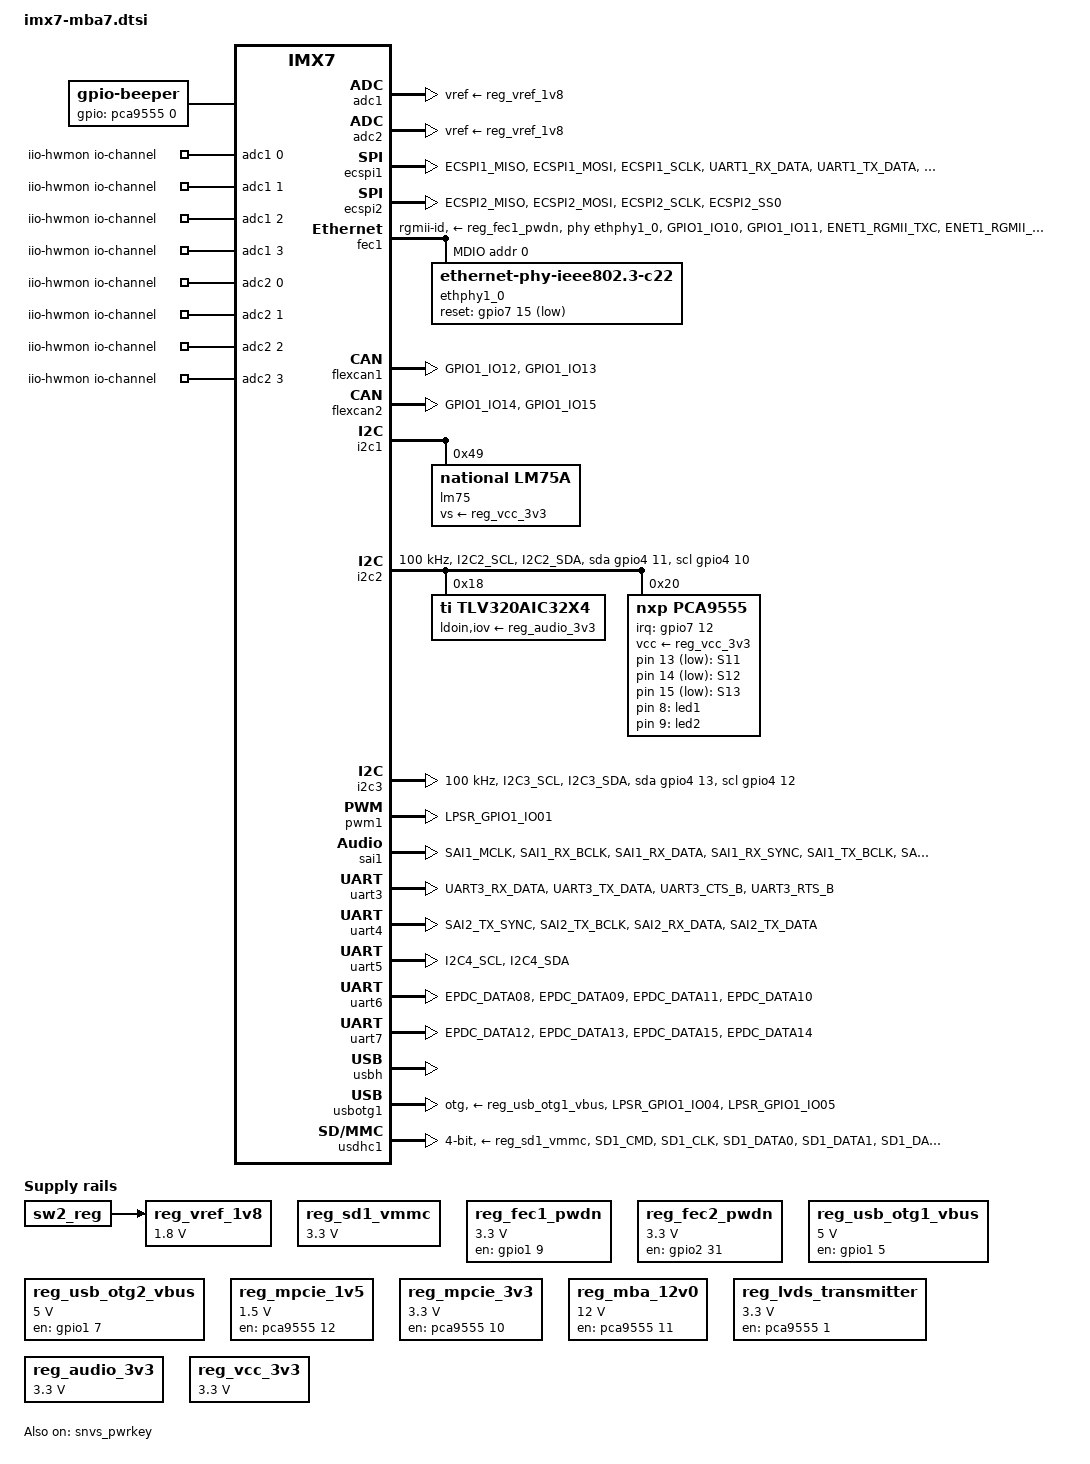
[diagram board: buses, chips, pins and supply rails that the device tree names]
// SPDX-License-Identifier: GPL-2.0 OR X11
/*
 * Device Tree Include file for TQ-Systems MBa7 carrier board.
 *
 * Copyright (C) 2016 TQ-Systems GmbH
 * Author: Markus Niebel <Markus.Niebel@tq-group.com>
 * Copyright (C) 2019 Bruno Thomsen <bruno.thomsen@gmail.com>
 *
 * Note: This file does not include nodes for all peripheral devices.
 * As device driver coverage increases additional nodes can be added.
 */

#include <dt-bindings/input/input.h>
#include <dt-bindings/net/ti-dp83867.h>

/ {
	aliases {
		mmc0 = &usdhc3;
		mmc1 = &usdhc1;
		/delete-property/ mmc2;
		rtc0 = &ds1339;
		rtc1 = &snvs_rtc;
	};

	beeper {
		compatible = "gpio-beeper";
		gpios = <&pca9555 0 GPIO_ACTIVE_HIGH>;
	};

	chosen {
		stdout-path = &uart6;
	};

	gpio_buttons: gpio-keys {
		compatible = "gpio-keys";

		/*
		 * NOTE: These buttons are attached to a GPIO-expander.
		 * Enabling wakeup-source, enables wakeup on all inputs.
		 * If PE_GPIO[3..6] are used as inputs, they cause a
		 * wakeup as well.
		 */
		button-0 {
			/* #SWITCH_A */
			label = "S11";
			linux,code = <KEY_1>;
			gpios = <&pca9555 13 GPIO_ACTIVE_LOW>;
			wakeup-source;
		};

		button-1 {
			/* #SWITCH_B */
			label = "S12";
			linux,code = <KEY_2>;
			gpios = <&pca9555 14 GPIO_ACTIVE_LOW>;
			wakeup-source;
		};

		button-2 {
			/* #SWITCH_C */
			label = "S13";
			linux,code = <KEY_3>;
			gpios = <&pca9555 15 GPIO_ACTIVE_LOW>;
			wakeup-source;
		};
	};

	gpio-leds {
		compatible = "gpio-leds";

		led1 {
			label = "led1";
			gpios = <&pca9555 8 GPIO_ACTIVE_HIGH>;
			linux,default-trigger = "default-on";
		};

		led2 {
			label = "led2";
			gpios = <&pca9555 9 GPIO_ACTIVE_HIGH>;
			linux,default-trigger = "heartbeat";
		};
	};

	iio-hwmon {
		compatible = "iio-hwmon";
		io-channels = <&adc1 0>, <&adc1 1>, <&adc1 2>, <&adc1 3>,
			      <&adc2 0>, <&adc2 1>, <&adc2 2>, <&adc2 3>;
	};

	reg_sd1_vmmc: regulator-sd1-vmmc {
		compatible = "regulator-fixed";
		regulator-name = "VCC3V3_SD1";
		regulator-min-microvolt = <3300000>;
		regulator-max-microvolt = <3300000>;
		regulator-always-on;
	};

	reg_fec1_pwdn: regulator-fec1-pwdn {
		compatible = "regulator-fixed";
		regulator-name = "PWDN_FEC1";
		regulator-min-microvolt = <3300000>;
		regulator-max-microvolt = <3300000>;
		regulator-always-on;
		gpio = <&gpio1 9 GPIO_ACTIVE_HIGH>;
		enable-active-high;
	};

	reg_fec2_pwdn: regulator-fec2-pwdn {
		compatible = "regulator-fixed";
		regulator-name = "PWDN_FEC2";
		regulator-min-microvolt = <3300000>;
		regulator-max-microvolt = <3300000>;
		regulator-always-on;
		gpio = <&gpio2 31 GPIO_ACTIVE_HIGH>;
		enable-active-high;
	};

	reg_usb_otg1_vbus: regulator-usb-otg1-vbus {
		compatible = "regulator-fixed";
		regulator-name = "VBUS_USBOTG1";
		regulator-min-microvolt = <5000000>;
		regulator-max-microvolt = <5000000>;
		gpio = <&gpio1 5 GPIO_ACTIVE_HIGH>;
		enable-active-high;
	};

	reg_usb_otg2_vbus: regulator-usb-otg2-vbus {
		compatible = "regulator-fixed";
		regulator-name = "VBUS_USBOTG2";
		regulator-min-microvolt = <5000000>;
		regulator-max-microvolt = <5000000>;
		gpio = <&gpio1 7 GPIO_ACTIVE_HIGH>;
		enable-active-high;
	};

	reg_mpcie_1v5: regulator-mpcie-1v5 {
		compatible = "regulator-fixed";
		regulator-name = "VCC1V5_MPCIE";
		regulator-min-microvolt = <1500000>;
		regulator-max-microvolt = <1500000>;
		gpio = <&pca9555 12 GPIO_ACTIVE_HIGH>;
		enable-active-high;
		regulator-always-on;
	};

	reg_mpcie_3v3: regulator-mpcie-3v3 {
		compatible = "regulator-fixed";
		regulator-name = "VCC3V3_MPCIE";
		regulator-min-microvolt = <3300000>;
		regulator-max-microvolt = <3300000>;
		gpio = <&pca9555 10 GPIO_ACTIVE_HIGH>;
		enable-active-high;
		regulator-always-on;
	};

	reg_mba_12v0: regulator-mba-12v0 {
		compatible = "regulator-fixed";
		regulator-name = "VCC12V0_MBA7";
		regulator-min-microvolt = <12000000>;
		regulator-max-microvolt = <12000000>;
		gpio = <&pca9555 11 GPIO_ACTIVE_HIGH>;
		enable-active-high;
	};

	reg_lvds_transmitter: regulator-lvds-transmitter {
		compatible = "regulator-fixed";
		regulator-name = "#SHTDN_LVDS";
		regulator-min-microvolt = <3300000>;
		regulator-max-microvolt = <3300000>;
		gpio = <&pca9555 1 GPIO_ACTIVE_HIGH>;
		enable-active-high;
	};

	reg_vref_1v8: regulator-vref-1v8 {
		compatible = "regulator-fixed";
		regulator-name = "VCC1V8_REF";
		regulator-min-microvolt = <1800000>;
		regulator-max-microvolt = <1800000>;
		regulator-always-on;
		vin-supply = <&sw2_reg>;
	};

	reg_audio_3v3: regulator-audio-3v3 {
		compatible = "regulator-fixed";
		regulator-name = "VCC3V3_AUDIO";
		regulator-min-microvolt = <3300000>;
		regulator-max-microvolt = <3300000>;
		regulator-always-on;
	};

	reg_vcc_3v3: regulator-vcc-3v3 {
		compatible = "regulator-fixed";
		regulator-name = "VCC3V3";
		regulator-min-microvolt = <3300000>;
		regulator-max-microvolt = <3300000>;
		regulator-always-on;
	};

	sound {
		compatible = "fsl,imx-audio-tlv320aic32x4";
		model = "imx-audio-tlv320aic32x4";
		ssi-controller = <&sai1>;
		audio-codec = <&tlv320aic32x4>;
		audio-routing =
			"IN3_L", "Mic Jack",
			"Mic Jack", "Mic Bias",
			"IN1_L", "Line In Jack",
			"IN1_R", "Line In Jack",
			"Line Out Jack", "LOL",
			"Line Out Jack", "LOR";
	};
};

&adc1 {
	vref-supply = <&reg_vref_1v8>;
	status = "okay";
};

&adc2 {
	vref-supply = <&reg_vref_1v8>;
	status = "okay";
};

&ecspi1 {
	pinctrl-names = "default";
	pinctrl-0 = <&pinctrl_ecspi1>, <&pinctrl_ecspi1_ss0>;
	cs-gpios = <&gpio4 0 GPIO_ACTIVE_LOW>, <&gpio4 1 GPIO_ACTIVE_LOW>,
		   <&gpio4 2 GPIO_ACTIVE_LOW>, <&gpio4 19 GPIO_ACTIVE_LOW>;
	status = "okay";
};

&ecspi2 {
	pinctrl-names = "default";
	pinctrl-0 = <&pinctrl_ecspi2>;
	status = "okay";
};

&fec1 {
	pinctrl-names = "default";
	pinctrl-0 = <&pinctrl_enet1>;
	phy-mode = "rgmii-id";
	phy-supply = <&reg_fec1_pwdn>;
	phy-handle = <&ethphy1_0>;
	fsl,magic-packet;
	status = "okay";

	mdio {
		#address-cells = <1>;
		#size-cells = <0>;

		ethphy1_0: ethernet-phy@0 {
			compatible = "ethernet-phy-ieee802.3-c22";
			reg = <0>;
			pinctrl-names = "default";
			pinctrl-0 = <&pinctrl_enet1_phy>;
			ti,rx-internal-delay = <DP83867_RGMIIDCTL_2_50_NS>;
			ti,tx-internal-delay = <DP83867_RGMIIDCTL_2_50_NS>;
			ti,fifo-depth = <DP83867_PHYCR_FIFO_DEPTH_4_B_NIB>;
			ti,clk-output-sel = <DP83867_CLK_O_SEL_OFF>;
			reset-gpios = <&gpio7 15 GPIO_ACTIVE_LOW>;
			reset-assert-us = <1000>;
			reset-deassert-us = <500>;
		};
	};
};

&flash0 {
	partitions {
		compatible = "fixed-partitions";
		#address-cells = <1>;
		#size-cells = <1>;

		uboot@0 {
			label = "U-Boot";
			reg = <0x0 0xd0000>;
		};

		env1@d0000 {
			label = "ENV1";
			reg = <0xd0000 0x10000>;
		};

		env2@e0000 {
			label = "ENV2";
			reg = <0xe0000 0x10000>;
		};

		dtb@f0000 {
			label = "DTB";
			reg = <0xf0000 0x10000>;
		};

		linux@100000 {
			label = "Linux";
			reg = <0x100000 0x700000>;
		};

		rootfs@800000 {
			label = "RootFS";
			reg = <0x800000 0x3800000>;
		};
	};
};

&flexcan1 {
	pinctrl-names = "default";
	pinctrl-0 = <&pinctrl_flexcan1>;
	status = "okay";
};

&flexcan2 {
	pinctrl-names = "default";
	pinctrl-0 = <&pinctrl_flexcan2>;
	status = "okay";
};

&i2c1 {
	lm75: temperature-sensor@49 {
		compatible = "national,lm75a";
		reg = <0x49>;
		vs-supply = <&reg_vcc_3v3>;
	};
};

&i2c2 {
	clock-frequency = <100000>;
	pinctrl-names = "default", "gpio";
	pinctrl-0 = <&pinctrl_i2c2>;
	pinctrl-1 = <&pinctrl_i2c2_recovery>;
	scl-gpios = <&gpio4 10 (GPIO_ACTIVE_HIGH | GPIO_OPEN_DRAIN)>;
	sda-gpios = <&gpio4 11 (GPIO_ACTIVE_HIGH | GPIO_OPEN_DRAIN)>;
	status = "okay";

	tlv320aic32x4: audio-codec@18 {
		compatible = "ti,tlv320aic32x4";
		reg = <0x18>;
		clocks = <&clks IMX7D_AUDIO_MCLK_ROOT_DIV>;
		clock-names = "mclk";
		ldoin-supply = <&reg_audio_3v3>;
		iov-supply = <&reg_audio_3v3>;
	};

	pca9555: gpio-expander@20 {
		compatible = "nxp,pca9555";
		reg = <0x20>;
		pinctrl-names = "default";
		pinctrl-0 = <&pinctrl_pca9555>;
		gpio-controller;
		#gpio-cells = <2>;
		interrupt-parent = <&gpio7>;
		interrupts = <12 IRQ_TYPE_EDGE_FALLING>;
		interrupt-controller;
		#interrupt-cells = <2>;
		vcc-supply = <&reg_vcc_3v3>;
	};
};

&i2c3 {
	clock-frequency = <100000>;
	pinctrl-names = "default", "gpio";
	pinctrl-0 = <&pinctrl_i2c3>;
	pinctrl-1 = <&pinctrl_i2c3_recovery>;
	scl-gpios = <&gpio4 12 (GPIO_ACTIVE_HIGH | GPIO_OPEN_DRAIN)>;
	sda-gpios = <&gpio4 13 (GPIO_ACTIVE_HIGH | GPIO_OPEN_DRAIN)>;
	status = "okay";
};

&iomuxc {
	pinctrl-names = "default";
	pinctrl-0 = <&pinctrl_hog_mba7_1>;

	pinctrl_ecspi1: ecspi1grp {
		fsl,pins =
			<MX7D_PAD_ECSPI1_MISO__ECSPI1_MISO		0x7c>,
			<MX7D_PAD_ECSPI1_MOSI__ECSPI1_MOSI		0x74>,
			<MX7D_PAD_ECSPI1_SCLK__ECSPI1_SCLK		0x74>,
			<MX7D_PAD_UART1_RX_DATA__GPIO4_IO0		0x74>,
			<MX7D_PAD_UART1_TX_DATA__GPIO4_IO1		0x74>,
			<MX7D_PAD_UART2_RX_DATA__GPIO4_IO2		0x74>;
	};

	pinctrl_ecspi1_ss0: ecspi1ss0grp {
		fsl,pins = <
			MX7D_PAD_ECSPI1_SS0__GPIO4_IO19			0x74
		>;
	};

	pinctrl_ecspi2: ecspi2grp {
		fsl,pins =
			<MX7D_PAD_ECSPI2_MISO__ECSPI2_MISO		0x7c>,
			<MX7D_PAD_ECSPI2_MOSI__ECSPI2_MOSI		0x74>,
			<MX7D_PAD_ECSPI2_SCLK__ECSPI2_SCLK		0x74>,
			<MX7D_PAD_ECSPI2_SS0__ECSPI2_SS0		0x74>;
	};

	pinctrl_enet1: enet1grp {
		fsl,pins =
			<MX7D_PAD_GPIO1_IO10__ENET1_MDIO			0x02>,
			<MX7D_PAD_GPIO1_IO11__ENET1_MDC				0x00>,
			<MX7D_PAD_ENET1_RGMII_TXC__ENET1_RGMII_TXC		0x71>,
			<MX7D_PAD_ENET1_RGMII_TD0__ENET1_RGMII_TD0		0x71>,
			<MX7D_PAD_ENET1_RGMII_TD1__ENET1_RGMII_TD1		0x71>,
			<MX7D_PAD_ENET1_RGMII_TD2__ENET1_RGMII_TD2		0x71>,
			<MX7D_PAD_ENET1_RGMII_TD3__ENET1_RGMII_TD3		0x71>,
			<MX7D_PAD_ENET1_RGMII_TX_CTL__ENET1_RGMII_TX_CTL	0x71>,
			<MX7D_PAD_ENET1_RGMII_RXC__ENET1_RGMII_RXC		0x79>,
			<MX7D_PAD_ENET1_RGMII_RD0__ENET1_RGMII_RD0		0x79>,
			<MX7D_PAD_ENET1_RGMII_RD1__ENET1_RGMII_RD1		0x79>,
			<MX7D_PAD_ENET1_RGMII_RD2__ENET1_RGMII_RD2		0x79>,
			<MX7D_PAD_ENET1_RGMII_RD3__ENET1_RGMII_RD3		0x79>,
			<MX7D_PAD_ENET1_RGMII_RX_CTL__ENET1_RGMII_RX_CTL	0x79>;
	};

	pinctrl_enet1_phy: enet1phygrp {
		fsl,pins =
			/* Reset: SION, 100kPU, SRE_FAST, DSE_X1 */
			<MX7D_PAD_ENET1_COL__GPIO7_IO15				0x40000070>,
			/* INT/PWDN: SION, 100kPU, HYS, SRE_FAST, DSE_X1 */
			<MX7D_PAD_GPIO1_IO09__GPIO1_IO9				0x40000078>;
	};

	pinctrl_flexcan1: flexcan1grp {
		fsl,pins =
			<MX7D_PAD_GPIO1_IO12__FLEXCAN1_RX	0x5a>,
			<MX7D_PAD_GPIO1_IO13__FLEXCAN1_TX	0x52>;
	};

	pinctrl_flexcan2: flexcan2grp {
		fsl,pins =
			<MX7D_PAD_GPIO1_IO14__FLEXCAN2_RX	0x5a>,
			<MX7D_PAD_GPIO1_IO15__FLEXCAN2_TX	0x52>;
	};

	pinctrl_hog_mba7_1: hogmba71grp {
		fsl,pins =
			/* Limitation: WDOG2_B / WDOG2_RESET not usable */
			<MX7D_PAD_ENET1_RX_CLK__GPIO7_IO13	0x4000007c>,
			<MX7D_PAD_ENET1_CRS__GPIO7_IO14		0x40000074>,
			/* #BOOT_EN */
			<MX7D_PAD_UART2_TX_DATA__GPIO4_IO3	0x40000010>;
	};

	pinctrl_i2c2: i2c2grp {
		fsl,pins =
			<MX7D_PAD_I2C2_SCL__I2C2_SCL		0x40000078>,
			<MX7D_PAD_I2C2_SDA__I2C2_SDA		0x40000078>;
	};

	pinctrl_i2c2_recovery: i2c2recoverygrp {
		fsl,pins =
			<MX7D_PAD_I2C2_SCL__GPIO4_IO10		0x40000078>,
			<MX7D_PAD_I2C2_SDA__GPIO4_IO11		0x40000078>;
	};

	pinctrl_i2c3: i2c3grp {
		fsl,pins =
			<MX7D_PAD_I2C3_SCL__I2C3_SCL		0x40000078>,
			<MX7D_PAD_I2C3_SDA__I2C3_SDA		0x40000078>;
	};

	pinctrl_i2c3_recovery: i2c3recoverygrp {
		fsl,pins =
			<MX7D_PAD_I2C3_SCL__GPIO4_IO12		0x40000078>,
			<MX7D_PAD_I2C3_SDA__GPIO4_IO13		0x40000078>;
	};

	pinctrl_pca9555: pca95550grp {
		fsl,pins =
			<MX7D_PAD_ENET1_TX_CLK__GPIO7_IO12	0x78>;
	};

	pinctrl_sai1: sai1grp {
		fsl,pins =
			<MX7D_PAD_SAI1_MCLK__SAI1_MCLK		0x11>,
			<MX7D_PAD_SAI1_RX_BCLK__SAI1_RX_BCLK	0x1c>,
			<MX7D_PAD_SAI1_RX_DATA__SAI1_RX_DATA0	0x1c>,
			<MX7D_PAD_SAI1_RX_SYNC__SAI2_RX_SYNC	0x1c>,

			<MX7D_PAD_SAI1_TX_BCLK__SAI1_TX_BCLK	0x1c>,
			<MX7D_PAD_SAI1_TX_DATA__SAI1_TX_DATA0	0x14>,
			<MX7D_PAD_SAI1_TX_SYNC__SAI1_TX_SYNC	0x14>;
	};

	pinctrl_uart3: uart3grp {
		fsl,pins =
			<MX7D_PAD_UART3_RX_DATA__UART3_DCE_RX	0x7e>,
			<MX7D_PAD_UART3_TX_DATA__UART3_DCE_TX	0x76>,
			<MX7D_PAD_UART3_CTS_B__UART3_DCE_CTS	0x76>,
			<MX7D_PAD_UART3_RTS_B__UART3_DCE_RTS	0x7e>;
	};

	pinctrl_uart4: uart4grp {
		fsl,pins =
			<MX7D_PAD_SAI2_TX_SYNC__UART4_DCE_RX	0x7e>,
			<MX7D_PAD_SAI2_TX_BCLK__UART4_DCE_TX	0x76>,
			<MX7D_PAD_SAI2_RX_DATA__UART4_DCE_CTS	0x76>,
			<MX7D_PAD_SAI2_TX_DATA__UART4_DCE_RTS	0x7e>;
	};

	pinctrl_uart5: uart5grp {
		fsl,pins =
			<MX7D_PAD_I2C4_SCL__UART5_DCE_RX	0x7e>,
			<MX7D_PAD_I2C4_SDA__UART5_DCE_TX	0x76>;
	};

	pinctrl_uart6: uart6grp {
		fsl,pins =
			<MX7D_PAD_EPDC_DATA08__UART6_DCE_RX	0x7d>,
			<MX7D_PAD_EPDC_DATA09__UART6_DCE_TX	0x75>,
			<MX7D_PAD_EPDC_DATA11__UART6_DCE_CTS	0x75>,
			<MX7D_PAD_EPDC_DATA10__UART6_DCE_RTS	0x7d>;
	};

	pinctrl_uart7: uart7grp {
		fsl,pins =
			<MX7D_PAD_EPDC_DATA12__UART7_DCE_RX	0x7e>,
			<MX7D_PAD_EPDC_DATA13__UART7_DCE_TX	0x76>,
			<MX7D_PAD_EPDC_DATA15__UART7_DCE_CTS	0x76>,
			/* Limitation: RTS is not connected */
			<MX7D_PAD_EPDC_DATA14__UART7_DCE_RTS	0x7e>;
	};

	pinctrl_usdhc1_gpio: usdhc1_gpiogrp {
		fsl,pins =
			/* WP */
			<MX7D_PAD_SD1_WP__GPIO5_IO1		0x7c>,
			/* CD */
			<MX7D_PAD_SD1_CD_B__GPIO5_IO0		0x7c>,
			/* VSELECT */
			<MX7D_PAD_GPIO1_IO08__SD1_VSELECT	0x59>;
	};

	pinctrl_usdhc1: usdhc1grp {
		fsl,pins =
			<MX7D_PAD_SD1_CMD__SD1_CMD		0x5e>,
			<MX7D_PAD_SD1_CLK__SD1_CLK		0x57>,
			<MX7D_PAD_SD1_DATA0__SD1_DATA0		0x5e>,
			<MX7D_PAD_SD1_DATA1__SD1_DATA1		0x5e>,
			<MX7D_PAD_SD1_DATA2__SD1_DATA2		0x5e>,
			<MX7D_PAD_SD1_DATA3__SD1_DATA3		0x5e>;
	};

	pinctrl_usdhc1_100mhz: usdhc1_100mhzgrp {
		fsl,pins =
			<MX7D_PAD_SD1_CMD__SD1_CMD		0x5a>,
			<MX7D_PAD_SD1_CLK__SD1_CLK		0x57>,
			<MX7D_PAD_SD1_DATA0__SD1_DATA0		0x5a>,
			<MX7D_PAD_SD1_DATA1__SD1_DATA1		0x5a>,
			<MX7D_PAD_SD1_DATA2__SD1_DATA2		0x5a>,
			<MX7D_PAD_SD1_DATA3__SD1_DATA3		0x5a>;
	};

	pinctrl_usdhc1_200mhz: usdhc1_200mhzgrp {
		fsl,pins =
			<MX7D_PAD_SD1_CMD__SD1_CMD		0x5b>,
			<MX7D_PAD_SD1_CLK__SD1_CLK		0x57>,
			<MX7D_PAD_SD1_DATA0__SD1_DATA0		0x5b>,
			<MX7D_PAD_SD1_DATA1__SD1_DATA1		0x5b>,
			<MX7D_PAD_SD1_DATA2__SD1_DATA2		0x5b>,
			<MX7D_PAD_SD1_DATA3__SD1_DATA3		0x5b>;
	};
};

&iomuxc_lpsr {
	pinctrl_pwm1: pwm1grp {
		fsl,pins =
			/* LCD_CONTRAST */
			<MX7D_PAD_LPSR_GPIO1_IO01__PWM1_OUT	0x50>;
	};

	pinctrl_usbotg1: usbotg1grp {
		fsl,pins =
			<MX7D_PAD_LPSR_GPIO1_IO04__USB_OTG1_OC	0x5c>,
			<MX7D_PAD_LPSR_GPIO1_IO05__GPIO1_IO5	0x59>;
	};

	pinctrl_wdog1: wdog1grp {
		fsl,pins =
			<MX7D_PAD_LPSR_GPIO1_IO00__WDOG1_WDOG_B	0x30>;
	};
};

&pwm1 {
	pinctrl-names = "default";
	pinctrl-0 = <&pinctrl_pwm1>;
	status = "okay";
};

&sai1 {
	pinctrl-names = "default";
	pinctrl-0 = <&pinctrl_sai1>;
	assigned-clocks = <&clks IMX7D_SAI1_ROOT_SRC>,
			  <&clks IMX7D_SAI1_ROOT_CLK>;
	assigned-clock-parents = <&clks IMX7D_PLL_AUDIO_POST_DIV>;
	assigned-clock-rates = <0>, <36864000>;
	status = "okay";
};

&snvs_pwrkey {
	status = "okay";
};

&uart3 {
	pinctrl-names = "default";
	pinctrl-0 = <&pinctrl_uart3>;
	assigned-clocks = <&clks IMX7D_UART3_ROOT_SRC>;
	assigned-clock-parents = <&clks IMX7D_OSC_24M_CLK>;
	status = "okay";
};

&uart4 {
	pinctrl-names = "default";
	pinctrl-0 = <&pinctrl_uart4>;
	assigned-clocks = <&clks IMX7D_UART4_ROOT_SRC>;
	assigned-clock-parents = <&clks IMX7D_OSC_24M_CLK>;
	status = "okay";
};

&uart5 {
	pinctrl-names = "default";
	pinctrl-0 = <&pinctrl_uart5>;
	assigned-clocks = <&clks IMX7D_UART5_ROOT_SRC>;
	assigned-clock-parents = <&clks IMX7D_OSC_24M_CLK>;
	status = "okay";
};

&uart6 {
	pinctrl-names = "default";
	pinctrl-0 = <&pinctrl_uart6>;
	assigned-clocks = <&clks IMX7D_UART6_ROOT_SRC>;
	assigned-clock-parents = <&clks IMX7D_OSC_24M_CLK>;
	status = "okay";
};

&uart7 {
	pinctrl-names = "default";
	pinctrl-0 = <&pinctrl_uart7>;
	assigned-clocks = <&clks IMX7D_UART7_ROOT_SRC>;
	assigned-clock-parents = <&clks IMX7D_OSC_24M_CLK>;
	uart-has-rtscts;
	linux,rs485-enabled-at-boot-time;
	rs485-rts-active-low;
	rs485-rx-during-tx;
	status = "okay";
};

&usbh {
	disable-over-current;
	status = "okay";
};

&usbotg1 {
	pinctrl-names = "default";
	pinctrl-0 = <&pinctrl_usbotg1>;
	vbus-supply = <&reg_usb_otg1_vbus>;
	srp-disable;
	hnp-disable;
	adp-disable;
	over-current-active-low;
	dr_mode = "otg";
	status = "okay";
};

&usdhc1 {
	pinctrl-names = "default", "state_100mhz", "state_200mhz";
	pinctrl-0 = <&pinctrl_usdhc1>, <&pinctrl_usdhc1_gpio>;
	pinctrl-1 = <&pinctrl_usdhc1_100mhz>, <&pinctrl_usdhc1_gpio>;
	pinctrl-2 = <&pinctrl_usdhc1_200mhz>, <&pinctrl_usdhc1_gpio>;
	cd-gpios = <&gpio5 0 GPIO_ACTIVE_LOW>;
	wp-gpios = <&gpio5 1 GPIO_ACTIVE_HIGH>;
	vmmc-supply = <&reg_sd1_vmmc>;
	bus-width = <4>;
	no-1-8-v;
	no-sdio;
	no-mmc;
	status = "okay";
};

&wdog1 {
	pinctrl-names = "default";
	pinctrl-0 = <&pinctrl_wdog1>;
	fsl,ext-reset-output;
};
